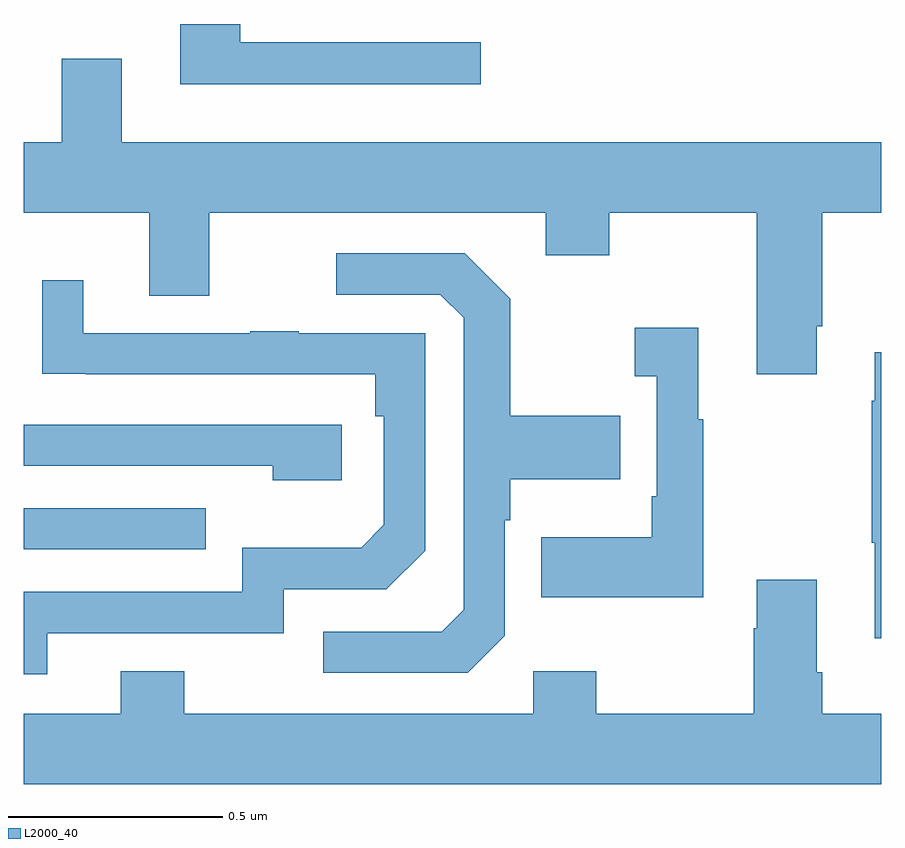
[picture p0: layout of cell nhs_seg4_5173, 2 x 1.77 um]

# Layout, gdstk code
import gdstk
lib = gdstk.Library(unit=1e-6, precision=1e-09)
def R(c, l, rs):  # rectangles x0, y0, x1, y1
    for r in rs: c.add(gdstk.rectangle(r[:2], r[2:], *l))
def P(c, l, *ps):  # polygons
    for p in ps: c.add(gdstk.Polygon(p, *l))
L2000_40 = (2000, 40)

nhs_seg4_5173 = lib.new_cell('nhs_seg4_5173')
R(nhs_seg4_5173, L2000_40, [(174,822.675,174.425,822.771)])
P(nhs_seg4_5173, L2000_40, [(175.066,823.857),(174.505,823.857),(174.505,823.9),(174.365,823.9),(174.365,823.76),(175.066,823.76)],
  [(175.849,823.195),(175.862,823.195),(175.862,823.46),(176,823.46),(176,823.624),(174.229,823.624),(174.229,823.819),(174.089,823.819),(174.089,823.624),(174,823.624),(174,823.46),(174.293,823.46),(174.293,823.266),(174.433,823.266),(174.433,823.46),(175.217,823.46),(175.217,823.361),(175.365,823.361),(175.365,823.46),(175.709,823.46),(175.709,823.083),(175.849,823.083)],
  [(175.122,822.474),(175.122,822.743),(175.135,822.743),(175.135,822.839),(175.391,822.839),(175.391,822.987),(175.135,822.987),(175.135,823.259),(175.029,823.365),(174.729,823.365),(174.729,823.269),(174.972,823.269),(175.026,823.215),(175.026,822.534),(174.975,822.483),(174.699,822.483),(174.699,822.387),(175.035,822.387)],
  [(174.055,822.48),(174.606,822.48),(174.606,822.582),(174.846,822.582),(174.936,822.672),(174.936,823.179),(174.641,823.179),(174.641,823.184),(174.529,823.184),(174.529,823.179),(174.139,823.179),(174.139,823.303),(174.043,823.303),(174.043,823.084),(174.145,823.084),(174.145,823.083),(174.82,823.083),(174.82,822.986),(174.84,822.986),(174.84,822.732),(174.787,822.679),(174.51,822.679),(174.51,822.576),(174,822.576),(174,822.384),(174.055,822.384)],
  [(175.585,822.979),(175.573,822.979),(175.573,823.192),(175.425,823.192),(175.425,823.079),(175.476,823.079),(175.476,822.799),(175.464,822.799),(175.464,822.703),(175.207,822.703),(175.207,822.563),(175.585,822.563)],
  [(176,823.135),(175.985,823.135),(175.985,823.022),(175.978,823.022),(175.978,822.691),(175.985,822.691),(175.985,822.468),(176,822.468)],
  [(174.742,822.966),(174,822.966),(174,822.87),(174.581,822.87),(174.581,822.836),(174.742,822.836)],
  [(176,822.292),(175.862,822.292),(175.862,822.388),(175.849,822.388),(175.849,822.604),(175.709,822.604),(175.709,822.491),(175.702,822.491),(175.702,822.292),(175.335,822.292),(175.335,822.391),(175.188,822.391),(175.188,822.292),(174.375,822.292),(174.375,822.391),(174.227,822.391),(174.227,822.292),(174,822.292),(174,822.128),(176,822.128)])

lib.write_gds('nhs_seg4_5173.gds')
